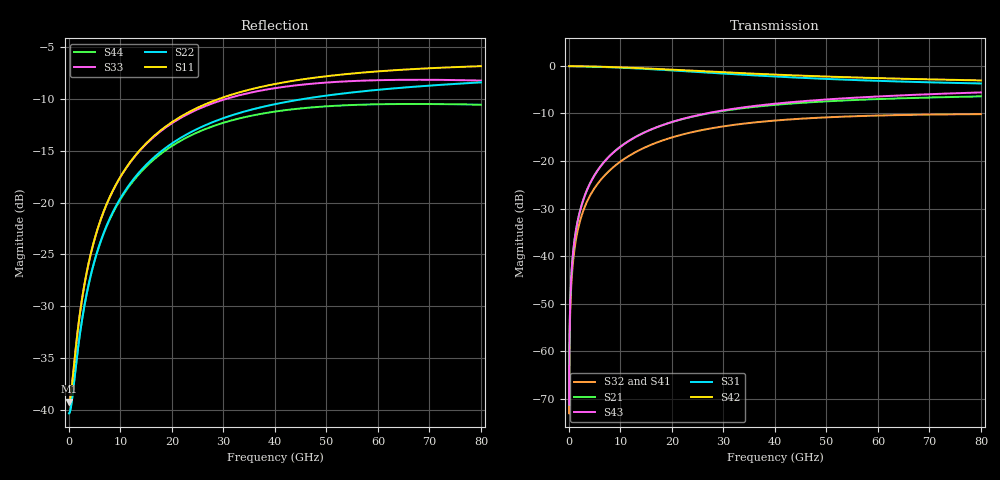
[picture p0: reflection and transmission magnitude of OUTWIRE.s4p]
! Created Sun Jun 11 19:48:53 2017
# hz S ma R 50
! 4 Port Network Data from data block
! freq  magS11  angS11  magS12  angS12  magS13  angS13  magS14  angS14
!  magS21  angS21  magS22  angS22  magS23  angS23  magS24  angS24
!  magS31  angS31  magS32  angS32  magS33  angS33  magS34  angS34
!  magS41  angS41  magS42  angS42  magS43  angS43  magS44  angS44
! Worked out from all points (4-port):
!   4000 points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, 20 MHz to 80 GHz, reference 50 ohm
!   strongest paths, dB at 20 MHz, 20.02 GHz, 40.02 GHz, 60.02 GHz, 80 GHz:
!     S42: -0.1, -0.8, -1.9, -2.6, -3.1
!     S31: -0.1, -1.0, -2.3, -3.2, -3.7
!     S43: -71.2, -11.8, -8.0, -6.4, -5.6
!     S21: -71.2, -11.8, -8.2, -7.0, -6.4
!     S32: -73.0, -15.0, -11.5, -10.5, -10.2
!     S41: -73.0, -15.1, -11.6, -10.6, -10.3
!   lowest |S11| = -39.2 dB at 20 MHz (marker M1), VSWR 1.02, Z = 51.1 + j0.0253 ohm
!   |S11| at or under -10 dB: start of sweep to 29.1 GHz
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2e7  0.01094 1.3  0.0002761 90.0  0.9891 -0.0  0.0002238 -90.1
     0.0002761 90.0  0.009614 1.2  0.0002237 -90.1  0.9904 -0.0
     0.9891 -0.0  0.0002237 -90.1  0.01094 1.3  0.000276 90.0
     0.0002238 -90.1  0.9904 -0.0  0.000276 90.0  0.009614 1.2
7e8  0.01406 38.1  0.009682 89.7  0.9887 -0.9  0.007811 -92.4
     0.009682 89.7  0.01184 34.9  0.00781 -92.4  0.9901 -0.8
     0.9887 -0.9  0.00781 -92.4  0.01406 38.1  0.009675 89.5
     0.007811 -92.4  0.9901 -0.8  0.009675 89.5  0.01184 34.9
2.26e9  0.0309 67.2  0.0317 88.4  0.986 -2.9  0.0247 -97.2
        0.0317 88.4  0.02458 64.9  0.02472 -97.2  0.9878 -2.4
        0.986 -2.9  0.02472 -97.2  0.03089 67.2  0.03165 88.0
        0.0247 -97.2  0.9878 -2.4  0.03165 88.0  0.02454 65.0
5.72e9  0.07684 74.2  0.08219 83.2  0.975 -7.2  0.05896 -105.0
        0.08219 83.2  0.06055 73.1  0.05914 -104.9  0.9786 -5.9
        0.975 -7.2  0.05914 -104.9  0.07667 74.2  0.08189 82.3
        0.05896 -105.0  0.9786 -5.9  0.08189 82.3  0.06015 73.5
1.146e10  0.1517 67.7  0.1608 74.0  0.9478 -13.7  0.1108 -115.4
          0.1608 74.0  0.1195 66.7  0.1115 -115.6  0.9559 -11.3
          0.9478 -13.7  0.1115 -115.6  0.151 67.8  0.1603 72.4
          0.1108 -115.4  0.9559 -11.3  0.1603 72.4  0.1177 67.9
3.37e10  0.3435 39.2  0.3579 49.6  0.8058 -32.4  0.2436 -150.7
         0.3579 49.6  0.2733 37.8  0.2459 -151.9  0.8364 -26.8
         0.8058 -32.4  0.2459 -151.9  0.3323 39.8  0.3647 44.9
         0.2436 -150.7  0.8364 -26.8  0.3647 44.9  0.2568 42.5
8e10  0.4551 7.4  0.4772 31.6  0.6519 -54.9  0.3055 165.2
      0.4772 31.6  0.3801 5.1  0.3104 161.9  0.702 -46.0
      0.6519 -54.9  0.3104 161.9  0.3878 13.1  0.525 16.3
      0.3055 165.2  0.702 -46.0  0.525 16.3  0.2967 22.7
